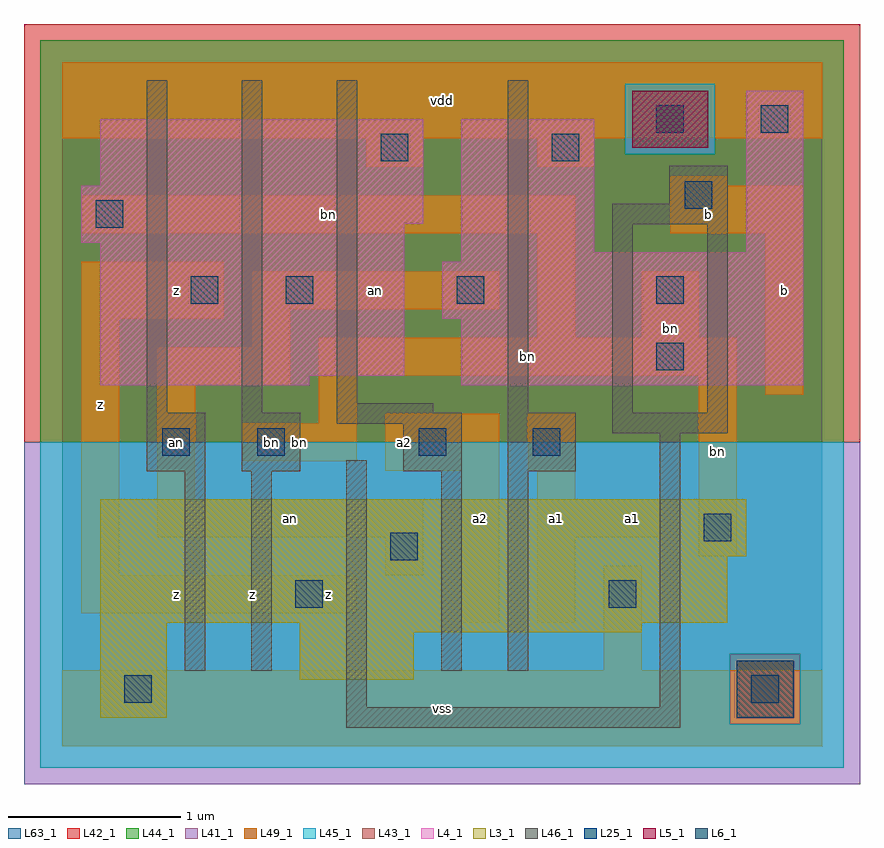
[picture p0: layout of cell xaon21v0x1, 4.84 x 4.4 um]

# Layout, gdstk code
import gdstk
lib = gdstk.Library(unit=1e-6, precision=1e-09)
def R(c, l, rs):  # rectangles x0, y0, x1, y1
    for r in rs: c.add(gdstk.rectangle(r[:2], r[2:], *l))
L3_1 = (3, 1)
L4_1 = (4, 1)
L5_1 = (5, 1)
L6_1 = (6, 1)
L25_1 = (25, 1)
L41_1 = (41, 1)
L42_1 = (42, 1)
L43_1 = (43, 1)
L44_1 = (44, 1)
L45_1 = (45, 1)
L46_1 = (46, 1)
L49_1 = (49, 1)
L63_1 = (63, 1)

xaon21v0x1 = lib.new_cell('xaon21v0x1')
R(xaon21v0x1, L3_1, [(0.22,0.165,0.605,0.715), (1.375,0.385,2.035,0.66), (1.375,0.66,3.355,0.715), (0.22,0.715,3.85,1.1), (0.22,1.1,3.96,1.43)])
R(xaon21v0x1, L4_1, [(0.22,2.09,1.43,2.145), (2.31,2.09,4.29,2.475), (0.22,2.145,1.98,2.915), (2.2,2.475,4.29,2.805), (2.31,2.805,4.29,2.86), (2.31,2.86,3.08,3.63), (3.96,2.86,4.29,3.795), (0.11,2.915,1.98,3.025), (0.11,3.025,2.09,3.245), (0.22,3.245,2.09,3.63)])
R(xaon21v0x1, L5_1, [(3.3,3.465,3.74,3.795)])
R(xaon21v0x1, L6_1, [(3.905,0.165,4.235,0.495)])
R(xaon21v0x1, L25_1, [(0.36,0.25,0.52,0.41), (3.99,0.25,4.15,0.41), (1.35,0.8,1.51,0.96), (3.165,0.8,3.325,0.96), (1.9,1.075,2.06,1.235), (3.715,1.185,3.875,1.345), (0.58,1.68,0.74,1.84), (1.13,1.68,1.29,1.84), (2.065,1.68,2.225,1.84), (2.725,1.68,2.885,1.84), (3.44,2.175,3.6,2.335), (0.745,2.56,0.905,2.72), (1.295,2.56,1.455,2.72), (2.285,2.56,2.445,2.72), (3.44,2.56,3.6,2.72), (0.195,3,0.355,3.16), (3.605,3.11,3.765,3.27), (1.845,3.385,2.005,3.545), (2.835,3.385,2.995,3.545), (3.44,3.55,3.6,3.71), (4.045,3.55,4.205,3.71)])
R(xaon21v0x1, L41_1, [(-0.22,-0.22,4.62,1.76)])
R(xaon21v0x1, L42_1, [(-0.22,1.76,4.62,4.18)])
R(xaon21v0x1, L43_1, [(0.22,0.165,0.605,0.715), (3.905,0.165,4.235,0.495), (1.375,0.385,2.035,0.66), (1.375,0.66,3.355,0.715), (0.22,0.715,3.85,1.1), (0.22,1.1,3.96,1.43), (0.22,2.09,1.43,2.145), (2.31,2.09,4.29,2.475), (0.22,2.145,1.98,2.915), (2.2,2.475,4.29,2.805), (2.31,2.805,4.29,2.86), (2.31,2.86,3.08,3.63), (3.96,2.86,4.29,3.795), (0.11,2.915,1.98,3.025), (0.11,3.025,2.09,3.245), (0.22,3.245,2.09,3.63), (3.3,3.465,3.74,3.795)])
R(xaon21v0x1, L44_1, [(3.865,0.125,4.275,0.535), (-0.125,1.76,4.525,3.425), (-0.125,3.425,3.26,3.835), (3.78,3.425,4.525,3.835), (-0.125,3.835,4.525,4.085)])
R(xaon21v0x1, L45_1, [(-0.125,-0.125,4.525,0.125), (-0.125,0.125,3.865,0.535), (4.275,0.125,4.525,0.535), (-0.125,0.535,4.525,1.76), (3.26,3.425,3.78,3.835)])
R(xaon21v0x1, L46_1, [(1.645,0.105,3.58,0.225), (1.645,0.225,1.765,1.655), (3.46,0.225,3.58,1.81), (0.71,0.435,0.83,1.59), (1.095,0.435,1.215,1.59), (2.195,0.435,2.315,1.59), (2.58,0.435,2.7,1.59), (0.49,1.59,0.83,1.93), (1.04,1.59,1.38,1.93), (1.975,1.59,2.315,1.865), (2.58,1.59,2.975,1.93), (3.185,1.81,3.855,1.93), (1.59,1.865,2.315,1.93), (0.49,1.93,0.61,3.855), (1.04,1.93,1.16,3.855), (1.59,1.93,2.15,1.985), (2.58,1.93,2.7,3.855), (3.185,1.93,3.305,3.02), (3.735,1.93,3.855,3.02), (1.59,1.985,1.71,3.855), (3.185,3.02,3.855,3.14), (3.515,3.14,3.855,3.36)])
R(xaon21v0x1, L49_1, [(0,0,4.4,0.44), (3.135,0.44,3.355,1.045), (2.31,0.715,2.53,1.595), (2.75,0.715,2.97,1.21), (0.11,0.77,1.705,0.99), (0.11,0.99,0.33,2.475), (1.87,0.99,2.09,1.21), (3.685,1.1,3.905,2.145), (0.55,1.21,2.09,1.43), (2.75,1.21,3.465,1.43), (0.55,1.43,0.77,2.09), (2.75,1.43,2.97,1.595), (1.87,1.595,2.53,1.925), (2.695,1.595,2.97,1.925), (1.045,1.65,1.705,1.87), (1.485,1.87,1.705,2.145), (4.07,2.035,4.29,2.97), (0.55,2.09,1.32,2.31), (1.485,2.145,3.905,2.365), (1.1,2.31,1.32,2.53), (2.75,2.365,2.97,2.97), (3.355,2.365,3.685,2.75), (0.11,2.475,0.935,2.805), (1.1,2.53,2.53,2.75), (0.11,2.97,2.97,3.19), (3.52,2.97,4.29,3.245), (3.52,3.245,3.85,3.3), (1.76,3.355,2.09,3.52), (2.75,3.355,3.08,3.52), (0,3.52,4.4,3.96)])
R(xaon21v0x1, L63_1, [(0,0,4.4,3.96)])
xaon21v0x1.add(gdstk.Label('an', (0.66,1.76), layer=49, texttype=1))
xaon21v0x1.add(gdstk.Label('bn', (1.21,1.76), layer=49, texttype=1))
xaon21v0x1.add(gdstk.Label('z', (0.66,0.88), layer=49, texttype=1))
xaon21v0x1.add(gdstk.Label('z', (0.22,1.98), layer=49, texttype=1))
xaon21v0x1.add(gdstk.Label('an', (0.66,1.76), layer=49, texttype=1))
xaon21v0x1.add(gdstk.Label('z', (0.66,2.64), layer=49, texttype=1))
xaon21v0x1.add(gdstk.Label('z', (1.54,0.88), layer=49, texttype=1))
xaon21v0x1.add(gdstk.Label('z', (1.1,0.88), layer=49, texttype=1))
xaon21v0x1.add(gdstk.Label('an', (1.32,1.32), layer=49, texttype=1))
xaon21v0x1.add(gdstk.Label('bn', (1.375,1.76), layer=49, texttype=1))
xaon21v0x1.add(gdstk.Label('a2', (1.98,1.76), layer=49, texttype=1))
xaon21v0x1.add(gdstk.Label('vss', (2.2,0.22), layer=49, texttype=1))
xaon21v0x1.add(gdstk.Label('a2', (2.42,1.32), layer=49, texttype=1))
xaon21v0x1.add(gdstk.Label('a1', (2.86,1.32), layer=49, texttype=1))
xaon21v0x1.add(gdstk.Label('an', (1.815,2.64), layer=49, texttype=1))
xaon21v0x1.add(gdstk.Label('bn', (1.54,3.08), layer=49, texttype=1))
xaon21v0x1.add(gdstk.Label('vdd', (2.2,3.74), layer=49, texttype=1))
xaon21v0x1.add(gdstk.Label('a1', (3.3,1.32), layer=49, texttype=1))
xaon21v0x1.add(gdstk.Label('bn', (3.795,1.705), layer=49, texttype=1))
xaon21v0x1.add(gdstk.Label('bn', (3.52,2.42), layer=49, texttype=1))
xaon21v0x1.add(gdstk.Label('bn', (2.695,2.255), layer=49, texttype=1))
xaon21v0x1.add(gdstk.Label('b', (4.18,2.64), layer=49, texttype=1))
xaon21v0x1.add(gdstk.Label('b', (3.74,3.08), layer=49, texttype=1))

lib.write_gds('xaon21v0x1.gds')
